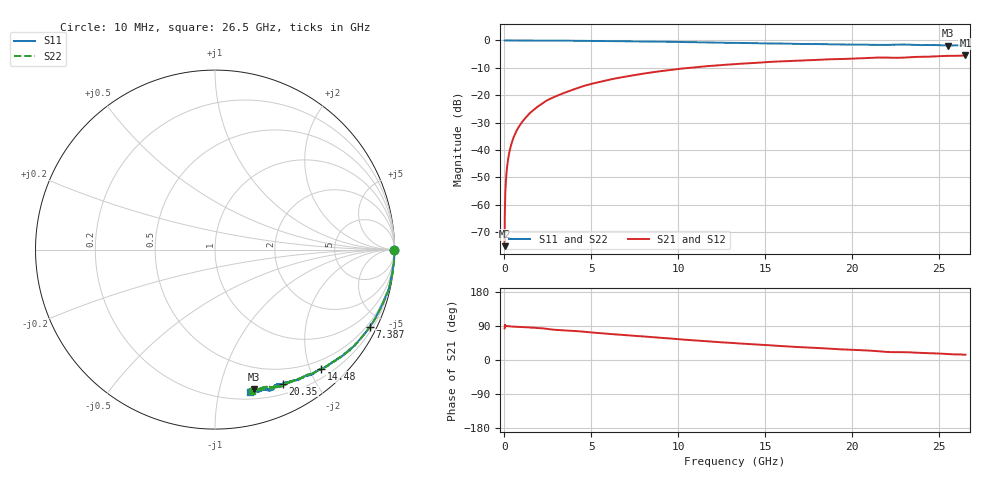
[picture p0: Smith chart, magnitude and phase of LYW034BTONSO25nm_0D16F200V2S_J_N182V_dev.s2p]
!Keysight Technologies,N5222B,MY61253708,A.15.00.15
!Date: Wednesday, June 19, 2024 10:32:07
!Correction: S11(C  2-Port  )
!S21(C  2-Port  )
!S12(C  2-Port  )
!S22(C  2-Port  )
!S2P File: Measurements: S11, S21, S12, S22:
# Hz S  RI  R 50
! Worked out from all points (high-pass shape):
!   2651 points, 10 MHz to 26.5 GHz, reference 50 ohm
!   highest |S21| = -5.46 dB at 26.5 GHz (marker M1); lowest = -75.1 dB at 10 MHz (marker M2)
!   |S21| within 3 dB of the highest: 13.63687 GHz to 13.66671 GHz (29.84 MHz wide, 0.219 % of centre); 13.69 GHz to end of sweep
!   lowest |S11| = -1.9 dB at 25.5 GHz (marker M3), VSWR 9.35, Z = 14.3 - j63.7 ohm
!   |S11| at or under -10 dB: nowhere
!   |S22| runs from -1.8 to 0.0 dB; largest |S21 - S12| = 0.007
!   S11 on the Smith chart (normalised r, x): 10 MHz: open; 7.387 GHz: 0.35, -4.21; 14.48 GHz: 0.34, -2.19; 20.35 GHz: 0.32, -1.58; 26.5 GHz: 0.26, -1.24
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1e7  0.9982 -0.00307  2.01e-05 0.000175  5.96e-06 0.000228  0.9983 -0.00177
7.997358e7  1 -0.0056  -6.29e-06 0.00256  8.17e-06 0.00257  0.9994 -0.00523
1.499472e8  1 -0.0106  5.79e-05 0.00487  4.67e-05 0.00487  0.9996 -0.01
1.799358e8  1 -0.0117  6.64e-05 0.0058  7.22e-05 0.00582  0.9995 -0.0112
2.399132e8  0.9996 -0.0162  0.000137 0.00774  0.000125 0.00777  0.9993 -0.0154
3.398755e8  0.9996 -0.0226  0.000215 0.011  0.000254 0.011  0.9995 -0.0216
4.598302e8  0.9987 -0.0307  0.000448 0.0148  0.000439 0.0149  0.9986 -0.03
6.097736e8  0.9988 -0.0396  0.000769 0.0196  0.00076 0.0197  0.9989 -0.0394
7.997019e8  0.9983 -0.0523  0.00131 0.0257  0.00125 0.0257  0.9976 -0.0516
1.43946e9  0.9911 -0.0948  0.00315 0.0463  0.0032 0.0463  0.9935 -0.0917
2.329125e9  0.9825 -0.1487  0.00943 0.0759  0.00955 0.0761  0.9838 -0.1491
3.218789e9  0.9724 -0.2043  0.0202 0.1019  0.0203 0.1021  0.9727 -0.2034
4.428332e9  0.9451 -0.2755  0.0366 0.1385  0.0368 0.1388  0.9468 -0.2728
7.387215e9  0.862 -0.4303  0.1008 0.2078  0.1014 0.2079  0.864 -0.4288
8.846664e9  0.8107 -0.4957  0.1397 0.2332  0.1406 0.2332  0.8121 -0.4946
1.3255e10  0.6393 -0.6377  0.2642 0.2595  0.2657 0.2588  0.6424 -0.6369
1.448454e10  0.5933 -0.6638  0.2958 0.2563  0.2971 0.2556  0.5964 -0.6609
1.767333e10  0.4697 -0.7207  0.3698 0.2346  0.3724 0.2327  0.4789 -0.7184
2.035232e10  0.3792 -0.7469  0.4229 0.2073  0.4242 0.2051  0.393 -0.7469
2.209166e10  0.3347 -0.7571  0.4536 0.1749  0.4545 0.1721  0.3274 -0.7631
2.550038e10  0.2147 -0.7777  0.5038 0.1396  0.5045 0.1395  0.2345 -0.7797
2.65e10  0.1955 -0.7925  0.5174 0.1288  0.516 0.1251  0.2081 -0.7904
